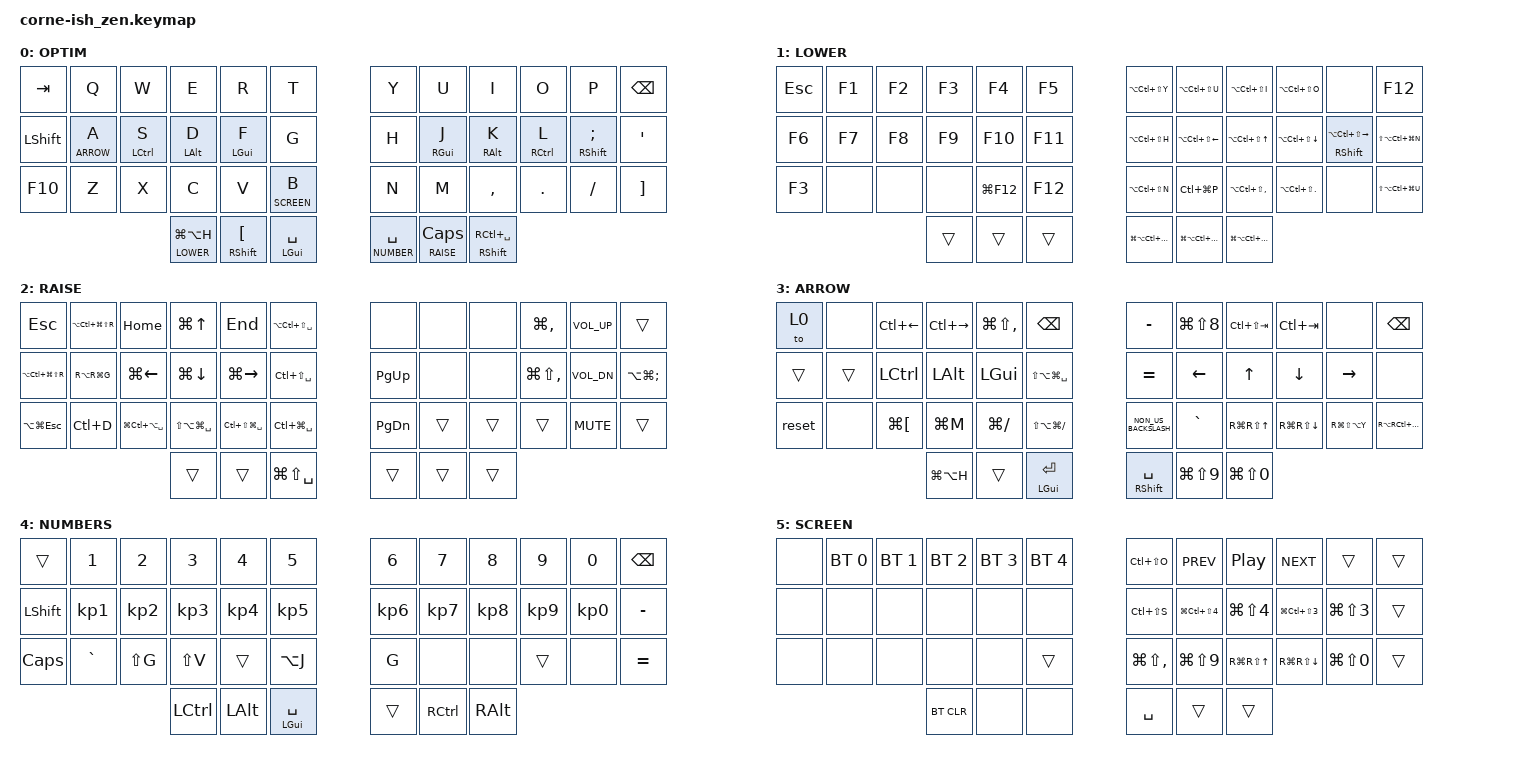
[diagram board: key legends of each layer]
/*
*
* Copyright (c) 2021 lowprokb.ca
* SPDX-License-Identifier: MIT
*
*/

#include <behaviors.dtsi>
#include <dt-bindings/zmk/keys.h>
#include <dt-bindings/zmk/bt.h>

#define DEFAULT 0
#define LOWER   1
#define RAISE   2
#define ARROW   3
#define NUMBER  4
#define SCREEN  5

&kscan0 { debounce-period = <17>; };

/ {
    combos {
        compatible = "zmk,combos";
        combo_ret {
            timeout-ms = <50>;
            key-positions = <18 30>;
            bindings = <&kp RET>;
        };
        combo_ret2 {
            timeout-ms = <50>;
            key-positions = <16 28>;
            bindings = <&kp RET>;
        };
        combo_bspc {
            timeout-ms = <50>;
            key-positions = <7 19>;
            bindings = <&kp BSPC>;
        };
        combo_del {
            timeout-ms = <50>;
            key-positions = <6 18>;
            bindings = <&kp DEL>;
        };
        combo_shift-tab {
            timeout-ms = <50>;
            key-positions = <18 19>;
            bindings = <&kp LS(TAB)>;
        };
        combo_w {
            timeout-ms = <50>;
            key-positions = <19 31>;
            bindings = <&kp RBKT>; //BP_W  OPT_CCED
        };
        combo_optcirc {
            timeout-ms = <50>;
            key-positions = <20 32>;
            bindings = <&kp SQT>; //BP_M OPT_CIRC
        };
        combo_left_x {
            timeout-ms = <50>;
            key-positions = <15 27>;
            bindings = <&kp LBKT>; //BP_M OPT_X
        };
//        combo_cced {
//            timeout-ms = <50>;
//            key-positions = <21 33>;
//            bindings = <&kp RBKT>; //BP_CCED OPT_CCED
//        };
        combo_z {
            timeout-ms = <50>;
            key-positions = <8 20>;
            bindings = <&kp BSLH>; //BP_Z OPT_Z
        };
        combo_arrow {
            timeout-ms = <50>;
            key-positions = <2 3 4>;
            bindings = <&tog ARROW>;
        };
        combo_cut {
            timeout-ms = <50>;
            key-positions = <2 14>;
            bindings = <&kp LG(LBKT)>; //OPT_CUT
        };
        combo_copy {
            timeout-ms = <50>;
            key-positions = <3 15>;
            bindings = <&kp LG(M)>; //OPT_COPY
        };
        combo_paste {
            timeout-ms = <50>;
            key-positions = <4 16>;
            bindings = <&kp LG(FSLH)>; //OPT_PASTE
        };
        combo_paste_without_format {
            timeout-ms = <50>;
            key-positions = <5 17>;
            bindings = <&kp LG(LA(LS(FSLH)))>; //OPT_PASTE_WITHOUT_FORMAT
        };
        combo_undo {
            timeout-ms = <50>;
            key-positions = <17 29>;
            bindings = <&kp LG(BSLH)>; //OPT_UNDO
        };
        combo_redo {
            timeout-ms = <50>;
            key-positions = <14 26>;
            bindings = <&kp LG(LS(BSLH))>; //OPT_REDO
        };
        combo_tab {
            timeout-ms = <50>;
            key-positions = <28 29>;
            bindings = <&kp LG(TAB)>;
        };
        combo_circ{
            timeout-ms = <50>;
            key-positions = <30 31>;
            bindings = <&kp SQT>; //OPT_CIRC
        };
        combo_cmd-tab {
            timeout-ms = <50>;
            key-positions = <16 17>;
            bindings = <&kp TAB>;
        };
        combo_left-space {
            timeout-ms = <30>;
            key-positions = <6 7>;
            bindings = <&kp LC(LEFT)>;
        };
        combo_left-space2 {
            timeout-ms = <30>;
            key-positions = <3 4>;
            bindings = <&kp LC(LEFT)>;
        };
        combo_right-space {
            timeout-ms = <50>;
            key-positions = <4 5>;
            bindings = <&kp LC(RIGHT)>;
        };
        combo_esc {
            timeout-ms = <50>;
            key-positions = <0 1>;
            bindings = <&kp ESC>;
        };
        combo_esc2 {
            timeout-ms = <50>;
            key-positions = <0 12>;
            bindings = <&kp ESC>;
        };
        combo_esc3 {
            timeout-ms = <50>;
            key-positions = <26 27 28>;
            bindings = <&kp ESC>;
        };
    };
};

// ------------------------------------------------------------------------------------------------------------
// |  0    |  1  |  2  |  3   |  4   |  5   |                   |  6   |  7    |  8    |  9   |   10  |   11  |
// |  12   | 13  |  14 | 15   | 16   |  17  |                   |  18  |  19   |  20   |  21  |   22  |   23  |
// |  24   | 25  |  26 | 27   | 28   |  29  |                   |  30  |  31   |  32   |  33  |   34  |   35  |
//                     | 36   | 37   |  38  |                   |  39  | 40    |  41   |


/ {
    behaviors {
        hm1: homerow_mods {
            compatible = "zmk,behavior-hold-tap";
            label = "HOMEROW_MODS1";
            #binding-cells = <2>;
            tapping-term-ms = <260>;
            quick_tap_ms = <0>;
            flavor = "tap-preferred";
            bindings = <&kp>, <&kp>;
        };
        hm2: homerow_mods2 {
            compatible = "zmk,behavior-hold-tap";
            label = "HOMEROW_MODS2";
            #binding-cells = <2>;
            tapping-term-ms = <150>;
            quick_tap_ms = <0>;
            flavor = "hold-preferred";
            bindings = <&kp>, <&kp>;
        };
        ht: homerow_layertap {
            compatible = "zmk,behavior-hold-tap";
            label = "HOMEROW_LAYERTAP";
            #binding-cells = <2>;
            tapping-term-ms = <260>;
            quick_tap_ms = <0>;
            flavor = "tap-preferred";
            bindings = <&mo>, <&kp>;
        };
        cwl: caps_word_layer{
            compatible = "zmk,behavior-hold-tap";
            label = "CAPS WORD LAYER";
            #binding-cells = <2>;
            tapping-term-ms = <260>;
            //quick_tap_ms = <0>;
            flavor = "tap-preferred";
            bindings = <&mo>, <&caps_word>;
        };
    };

    keymap {
        compatible = "zmk,keymap";

        default_layer {
        label = "OPTIM";
// ------------------- --------------------------------------------------------------------------------------------------
// |  TAB  |  B  |  É  |    P   |   O   |   È     |                   |  ^      |  V     |  D    |  L   |   J   | BKSPC |
// | LSHFT |  A  |  U  |    I   |   E   |   ,     |                   |  C      |  T     |  S    |  R   |   N   |   M   |
// |MISCTRL|  À  |  Y  |    X   |   .   |   K     |                   |  '      |  Q     |  G    |  H   |   F   |   Ç   |
//                     | LOWER/ | TAB / | CMD/ENTER |                   | NUMBER/ | RAISE/ | RC+SPC|
//                     | CLPBD H| LSHFT |                             | SPACE   |  W     | 
            bindings = <
&kp TAB        &kp Q       &kp W        &kp E               &kp R           &kp T                          &kp Y            &kp U          &kp I                &kp O        &kp P           &kp BSPC
&kp LSHFT      &ht ARROW A &hm1 LCTRL S &hm1 LALT D         &hm1 LGUI F     &kp G                          &kp H            &hm1 RGUI J    &hm1 RALT K          &hm1 RCTRL L &hm1 RSHFT SEMI &kp SQT
&kp F10         &kp Z       &kp X        &kp C               &kp V           &ht SCREEN B                   &kp N            &kp M          &kp COMMA            &kp DOT      &kp FSLH        &kp RBKT
                                        &lt LOWER LG(LA(H)) &hm1 RSHFT LBKT &mt LGUI SPACE                 &lt NUMBER SPACE &lt RAISE CAPS &hm1 RSHFT RC(SPACE)
            >;
            //code pour utiler Caps_Word : &cwl RAISE 0 (pas adapté à Optimot au 04/07/2022; les keycodes Qwerty sont pris en compte, et même si on peut
            // faire en sorte que certains keycodes ne désactivent pas Caps, je ne vois pas pour le moment comment faire pour que des keycodes
            // qwerty de lettres et qui sont par exemple , ou . en optimot désactives CAPS au lieu de le laisser actif).
        };

        lower_layer {
        label = "LOWER";
// ----------------------------------------------------------------------------------------------------------------
// | ESC   |  F1 |  F2 |  F3  |  F4      |  F5  |                   |   6  |   7   |   8   |   9  |    0  |  F12  |
// |   F6  |  F7 |  F8 |  F9  |  F10     |  F11 |                   |  ^   |  &    |  *    |  (   |   )   |   |   |
// |       |  =  |  -  |  +   |DoNotDist |  F12 |                   |  [   |  ]    |  ;    |  :   |   \   |       |
//               |     |      |          |      |                   |      |       |       |      |
            bindings = <                       
&kp ESC &kp F1 &kp F2 &kp F3 &kp F4      &kp F5               &kp LA(LC(LS(Y)))        &kp LA(LC(LS(U)))        &kp LA(LC(LS(I)))         &kp LA(LC(LS(O)))    &none                        &kp F12
&kp F6  &kp F7 &kp F8 &kp F9 &kp F10     &kp F11              &kp LA(LC(LS(H)))        &kp LA(LC(LS(LEFT)))     &kp LA(LC(LS(UP)))        &kp LA(LC(LS(DOWN))) &hm1 RSHFT LA(LC(LS(RIGHT))) &kp LS(LA(LC(LG(N))))
&kp F3 &none  &none  &none  &kp LG(F12) &kp F12              &kp LA(LC(LS(N)))        &kp LC(LG(P))            &kp LA(LC(LS(COMMA)))     &kp LA(LC(LS(DOT)))  &none                        &kp LS(LA(LC(LG(U))))
                      &trans &trans      &trans               &kp LG(LA(LC(LS(LEFT)))) &kp LG(LA(LC(LS(DOWN)))) &kp LG(LA(LC(LS(RIGHT))))      
            >;
        };

        raise_layer {
        label = "RAISE";
// -----------------------------------------------------------------------------------------------------------------------------------------------------------
// |                     |NewOmniFocTaskFromTxt| BT2        |  BT3         |  BT4       |  BT5 |                |      |      |       |      |       |       |
// |NewOmniFocTaskFromTxt| INS                 | PSCR       | GUI          |            |      |                | PGUP |      |   ^   |      |       |       |
// |AppsForceQuit        | FileMailOutlook     | HookCpyLk  | HookCpyMDLk  | HookToLink |      |                |      |      |       |      |       |       |
//                                                          |              |            | Hook |                |      |      |       |
            bindings = <
&kp ESC               &kp LA(LC(LG(LS(R)))) &kp HOME              &kp LG(UP)            &kp END               &kp LA(LC(LS(SPACE)))               &none     &none  &none  &kp LG(COMMA)     &kp C_VOL_UP &trans
&kp LA(LC(LG(LS(R)))) &kp RA(RG(G))         &kp LG(LEFT)          &kp LG(DOWN)          &kp LG(RIGHT)         &kp LC(LS(SPACE))                   &kp PG_UP &none  &none  &kp LG(LS(COMMA)) &kp C_VOL_DN &kp LA(LG(SEMI))
&kp LA(LG(ESC))       &kp LC(D)             &kp LG(LC(LA(SPACE))) &kp LS(LA(LG(SPACE))) &kp LC(LS(LG(SPACE))) &kp LC(LG(SPACE))                   &kp PG_DN &trans &trans &trans            &kp C_MUTE   &trans
                                                                  &trans                &trans                &kp LG(LS(SPACE))                   &trans    &trans &trans  
            >;
        };

        arrow_layer {
        label = "ARROW";
// --------------------------------------------------------------------------------------------------------------------------------------------------
// | TO 0  | none| LeftDesk | RightDesk | WkfyMirror  |  BSPC         |                   |  todo   |  todo    |  todo    |  todo     |  todo    |  todo       |
// | Trans |Trans|          |           |             |  HookCpyMDLk  |                   |  #   |  Left  |  UP    |  Down   | Right   |  None      |
// |       |     |    Cut   |  Copy     |   Paste     |PasteWOutFormat|                   |  ??ê?? |  $/€   |WkfyMvUP|WkfyMvDwn|TxTXSearch|TxTXDisable|
//                          |           |   LSHFT     |     trans     |                   |  SPC |WkfyPrev|WkfyNext|
            bindings = <
&to 0  &none     &kp LC(LEFT) &kp LC(RIGHT) &kp LG(LS(COMMA)) &kp BSPC                       &kp MINUS            &kp LG(LS(N8)) &kp LC(LS(TAB))  &kp LC(TAB)      &none             &kp BSPC
&trans &trans    &kp LCTRL    &kp LALT      &kp LGUI          &kp LS(LA(LG(SPACE)))          &kp EQUAL            &kp LEFT       &kp UP           &kp DOWN         &kp RIGHT         &none
&reset &none     &kp LG(LBKT) &kp LG(M)     &kp LG(FSLH)      &kp LS(LA(LG(FSLH)))           &kp NON_US_BACKSLASH &kp GRAVE      &kp RG(RS(UP))   &kp RG(RS(DOWN)) &kp RG(LS(LA(Y))) &kp RA(RC(RG(J)))
                              &kp LG(LA(H)) &trans            &mt LGUI RET                   &hm1 RSHFT SPACE     &kp LG(LS(N9)) &kp LG(LS(N0))
            >;
        };

        number_layer {
        label = "NUMBERS";
// ------------------------------------------------------------------------------------------------------------
// | TAB   |  «° |  °» |  "   |  -   |  +      |                   |  *   |  /    |  =    |  (   |   )   |  BSPC |
// | LSHFT |   1 |   2 |   3  |   4  |   5     |                   |   6  |   7   |   8   |   9  |    0  |   @/_ |
// | F10   | ??ê?? |  ;  |  :   |  .   |   &     |                   |  ,   |   No  |   No  |   H   |   No  |   #/% |
//                     | LCTRL| LALT |CMD/space|                   | togg | RCTRL | RALT  |
            bindings = <            
&trans    &kp N1    &kp N2    &kp N3    &kp N4    &kp N5                    &kp N6    &kp N7    &kp N8    &kp N9    &kp N0    &kp BSPC
&kp LSHFT &kp KP_N1 &kp KP_N2 &kp KP_N3 &kp KP_N4 &kp KP_N5                 &kp KP_N6 &kp KP_N7 &kp KP_N8 &kp KP_N9 &kp KP_N0 &kp MINUS
&kp CAPS  &kp GRAVE &kp LS(G) &kp LS(V) &trans    &kp LA(J)                 &kp G     &none     &none     &trans    &none     &kp EQUAL
                              &kp LCTRL &kp LALT  &mt LGUI SPACE            &trans    &kp RCTRL  &kp RALT
            >;
        };

         screen_layer {
         label = "SCREEN";
// TODO: Some binds are waiting for shifted keycode support.
// ------------------------------------------------------------------------------------------------------------
// |       |  F1 |  F2 |  F3  |  F4  |  F5  |                   |  F6  |  F7   |  F8   |  F9  |  F10  |  F11  |
// | `     |   1 |   2 |   3  |   4  |   5  |                   |   6  |   7   |   8   |   9  |    0  |  F12  |
// |       |  !  |  @  |  #   |  $   |  %   |                   |  ^   |  &    |  *    |  (   |   )   |   |   |
// |       |  =  |  -  |  +   |  {   |  }   |        |  |       |  [   |  ]    |  ;    |  :   |   \   |       |
//               |     |      |      |      |        |  |       |      |       |       |      |
            bindings = <
&none &bt BT_SEL 0 &bt BT_SEL 1 &bt BT_SEL 2 &bt BT_SEL 3 &bt BT_SEL 4                 &kp LC(LS(O))     &kp C_PREV         &kp C_PP       &kp C_NEXT         &trans         &trans
&none &none        &none        &none        &none        &none                        &kp LC(LS(S))     &kp LG(LC(LS(N4))) &kp LG(LS(N4)) &kp LG(LC(LS(N3))) &kp LG(LS(N3)) &trans
&none &none        &none        &none        &none        &trans                       &kp LG(LS(COMMA)) &kp LG(LS(N9))     &kp RG(RS(UP)) &kp RG(RS(DOWN))   &kp LG(LS(N0)) &trans
                                &bt BT_CLR   &none        &none                        &kp SPACE         &trans             &trans  
            >;
        };
   };
};
